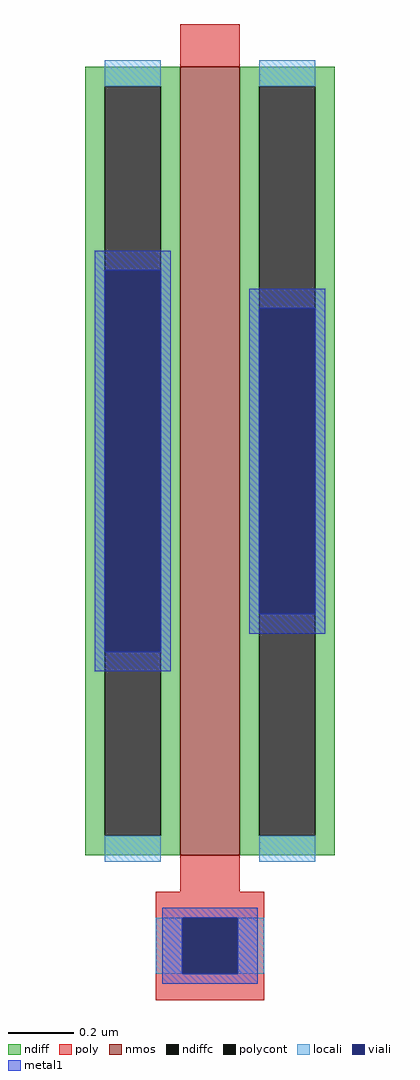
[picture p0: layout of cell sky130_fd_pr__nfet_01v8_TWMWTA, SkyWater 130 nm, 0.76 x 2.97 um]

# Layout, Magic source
magic
tech sky130A
magscale 1 2
<< nmos >>
rect -18 -209 18 271
<< ndiff >>
rect -76 259 -18 271
rect -76 -197 -64 259
rect -30 -197 -18 259
rect -76 -209 -18 -197
rect 18 259 76 271
rect 18 -197 30 259
rect 64 -197 76 259
rect 18 -209 76 -197
<< ndiffc >>
rect -64 -197 -30 259
rect 30 -197 64 259
<< poly >>
rect -18 271 18 297
rect -18 -231 18 -209
rect -33 -247 33 -231
rect -33 -281 -17 -247
rect 17 -281 33 -247
rect -33 -297 33 -281
<< polycont >>
rect -17 -281 17 -247
<< locali >>
rect -64 259 -30 275
rect -64 -213 -30 -197
rect 30 259 64 275
rect 30 -213 64 -197
rect -33 -281 -17 -247
rect 17 -281 33 -247
<< viali >>
rect -64 -85 -30 147
rect 30 -62 64 124
rect -17 -281 17 -247
<< metal1 >>
rect -70 147 -24 159
rect -70 -85 -64 147
rect -30 -85 -24 147
rect 24 124 70 136
rect 24 -62 30 124
rect 64 -62 70 124
rect 24 -74 70 -62
rect -70 -97 -24 -85
rect -29 -247 29 -241
rect -29 -281 -17 -247
rect 17 -281 29 -247
rect -29 -287 29 -281
<< properties >>
string gencell sky130_fd_pr__nfet_01v8
string library sky130
string parameters w 2.4 l 0.18 m 1 nf 1 diffcov 100 polycov 100 guard 0 glc 0 grc 0 gtc 0 gbc 0 tbcov 100 rlcov 100 topc 0 botc 1 poverlap 0 doverlap 1 lmin 0.15 wmin 0.42 compatible {sky130_fd_pr__nfet_01v8 sky130_fd_pr__nfet_01v8_lvt  sky130_fd_bs_flash__special_sonosfet_star  sky130_fd_pr__nfet_g5v0d10v5 sky130_fd_pr__nfet_05v0_nvt  sky130_fd_pr__nfet_03v3_nvt} full_metal 0 viasrc 41 viadrn 51 viagate 100 viagb 80 viagr 0 viagl 0 viagt 0
<< end >>
